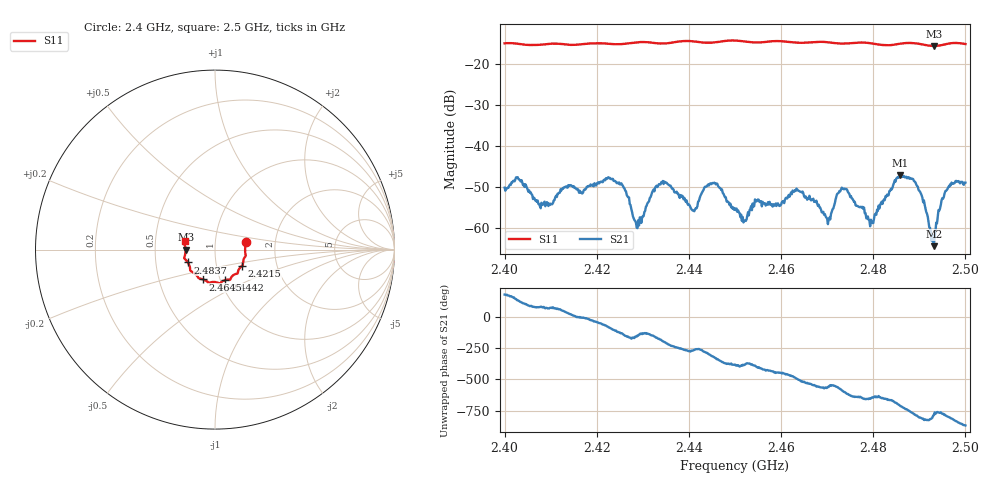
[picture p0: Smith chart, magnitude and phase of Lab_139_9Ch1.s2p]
# Hz S RI R 50
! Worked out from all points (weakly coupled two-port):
!   601 points, 2.4 GHz to 2.5 GHz, reference 50 ohm
!   highest |S21| = -47.27 dB at 2.4858 GHz (marker M1); lowest = -64.5 dB at 2.4932 GHz (marker M2)
!   lowest |S11| = -15.7 dB at 2.4932 GHz (marker M3), VSWR 1.39, Z = 35.9 - j0.0532 ohm
!   |S11| at or under -10 dB: start of sweep to end of sweep
!   S12 and S22 are empty: the file has one direction only
!   S11 on the Smith chart (normalised r, x): 2.4 GHz: 1.41, +0.12; 2.4215 GHz: 1.33, -0.25; 2.4442 GHz: 1.05, -0.37; 2.4645 GHz: 0.83, -0.29; 2.4837 GHz: 0.73, -0.11; 2.5 GHz: 0.71, +0.07
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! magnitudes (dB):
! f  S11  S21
! 2.4 GHz  -15.1  -50.3
! 2.4078 GHz  -15.4  -55.3
! 2.4167 GHz  -15.3  -51.5
! 2.4215 GHz  -15.1  -48.4
! 2.4258 GHz  -15.2  -50.2
! 2.4287 GHz  -14.8  -60.0
! 2.4333 GHz  -15.1  -49.8
! 2.441 GHz  -14.6  -55.9
! 2.4442 GHz  -15.0  -49.5
! 2.45 GHz  -14.4  -55.3
! 2.4645 GHz  -15.0  -51.4
! 2.4667 GHz  -14.8  -53.2
! 2.4702 GHz  -14.8  -59.1
! 2.4737 GHz  -15.1  -50.7
! 2.4795 GHz  -15.1  -58.1
! 2.4833 GHz  -15.6  -52.1
! 2.4837 GHz  -15.5  -51.0
! 2.4858 GHz  -15.2  -47.3
! 2.4892 GHz  -15.1  -49.0
! 2.4932 GHz  -15.7  -64.5
! 2.496 GHz  -15.2  -50.8
! 2.5 GHz  -15.3  -49.0
